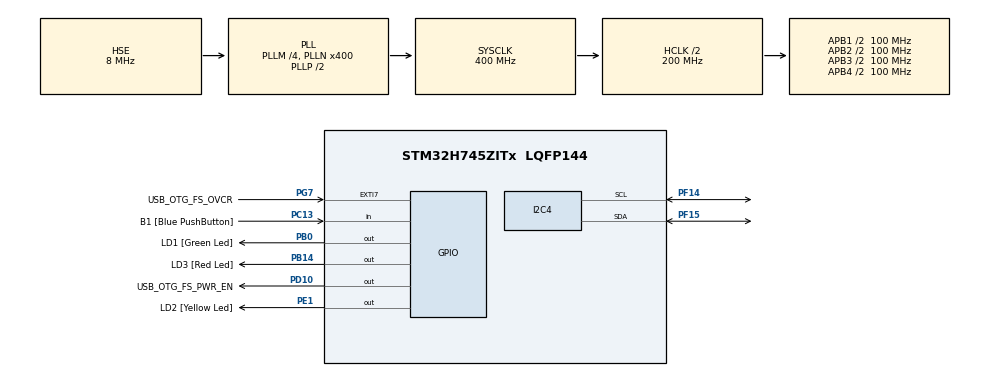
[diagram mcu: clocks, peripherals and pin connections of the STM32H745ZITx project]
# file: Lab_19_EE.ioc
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CortexM4.IPs=FATFS_M4\:I,FREERTOS_M4\:I,IWDG2\:I,RCC,WWDG2\:I,DMA,BDMA,MDMA,NVIC2\:I,USART3,ETH,DEBUG,PDM2PCM_M4\:I,PWR,RESMGR_UTILITY,SYS_M4\:I,USB_DEVICE_M4\:I,USB_HOST_M4\:I,CORTEX_M4\:I,GPIO,OPENAMP_M4\:I,VREFBUF
CortexM7.IPs=FATFS_M7\:I,FREERTOS_M7\:I,IWDG1\:I,RCC\:I,WWDG1\:I,DMA\:I,BDMA\:I,MDMA\:I,NVIC1\:I,SYS\:I,USART3\:I,USB_OTG_FS\:I,ETH\:I,CORTEX_M7\:I,DEBUG\:I,PDM2PCM_M7\:I,PWR\:I,RESMGR_UTILITY\:I,USB_DEVICE_M7\:I,USB_HOST_M7\:I,GPIO\:I,OPENAMP_M7\:I,VREFBUF\:I,I2C4\:I
CortexM7.Pins=PB0,PB14,PE1
I2C4.Timing=0x10C0ECFF
Mcu.Family=STM32H7
Mcu.Name=STM32H745ZITx
Mcu.Package=LQFP144
NVIC1.PriorityGroup=NVIC_PRIORITYGROUP_4
NVIC2.PriorityGroup=NVIC_PRIORITYGROUP_4
PA1.PinAttribute=CortexM7
PA1.Signal=ETH_REF_CLK
PA11.PinAttribute=CortexM7
PA11.Signal=USB_OTG_FS_DM
PA12.PinAttribute=CortexM7
PA12.Signal=USB_OTG_FS_DP
PA2.PinAttribute=CortexM7
PA2.Signal=ETH_MDIO
PA7.PinAttribute=CortexM7
PA7.Signal=ETH_CRS_DV
PA8.PinAttribute=CortexM7
PA8.Signal=USB_OTG_FS_SOF
PA9.PinAttribute=CortexM7
PA9.Signal=USB_OTG_FS_VBUS
PB0.GPIO_Label=LD1 [Green Led]
PB0.PinAttribute=CortexM7
PB0.Signal=GPIO_Output
PB13.PinAttribute=CortexM7
PB13.Signal=ETH_TXD1
PB14.GPIO_Label=LD3 [Red Led]
PB14.PinAttribute=CortexM7
PB14.Signal=GPIO_Output
PC1.PinAttribute=CortexM7
PC1.Signal=ETH_MDC
PC13.GPIO_Label=B1 [Blue PushButton]
PC13.PinAttribute=Free
PC13.Signal=GPIO_Input
PC14-OSC32_IN\ (OSC32_IN).PinAttribute=CortexM7
PC14-OSC32_IN\ (OSC32_IN).Signal=RCC_OSC32_IN
PC15-OSC32_OUT\ (OSC32_OUT).PinAttribute=CortexM7
PC15-OSC32_OUT\ (OSC32_OUT).Signal=RCC_OSC32_OUT
PC4.PinAttribute=CortexM7
PC4.Signal=ETH_RXD0
PC5.PinAttribute=CortexM7
PC5.Signal=ETH_RXD1
PD10.GPIO_Label=USB_OTG_FS_PWR_EN
PD10.PinAttribute=Free
PD10.Signal=GPIO_Output
PD8.GPIO_Label=STLINK_RX
PD8.PinAttribute=CortexM7
PD8.Signal=USART3_TX
PD9.GPIO_Label=STLINK_TX
PD9.PinAttribute=CortexM7
PD9.Signal=USART3_RX
PE1.GPIO_Label=LD2 [Yellow Led]
PE1.PinAttribute=CortexM7
PE1.Signal=GPIO_Output
PF14.Mode=I2C
PF14.PinAttribute=CortexM7
PF14.Signal=I2C4_SCL
PF15.Mode=I2C
PF15.PinAttribute=CortexM7
PF15.Signal=I2C4_SDA
PG11.PinAttribute=CortexM7
PG11.Signal=ETH_TX_EN
PG13.PinAttribute=CortexM7
PG13.Signal=ETH_TXD0
PG7.GPIO_Label=USB_OTG_FS_OVCR
PG7.PinAttribute=Free
PG7.Signal=GPXTI7
PH0-OSC_IN\ (PH0).Mode=HSE-External-Clock-Source
PH0-OSC_IN\ (PH0).PinAttribute=CortexM7
PH0-OSC_IN\ (PH0).Signal=RCC_OSC_IN
PH1-OSC_OUT\ (PH1).PinAttribute=CortexM7
PH1-OSC_OUT\ (PH1).Signal=RCC_OSC_OUT
ProjectManager.HeapSize=M4-0x200,M7-0x200
ProjectManager.StackSize=M4-0x400,M7-0x400
ProjectManager.TargetToolchain=STM32CubeIDE
RCC.ADCFreq_Value=16125000
RCC.APB1Freq_Value=100000000
RCC.APB2Freq_Value=100000000
RCC.APB3Freq_Value=100000000
RCC.APB4Freq_Value=100000000
RCC.CortexFreq_Value=400000000
RCC.D1PPRE=RCC_APB3_DIV2
RCC.D2PPRE1=RCC_APB1_DIV2
RCC.D2PPRE2=RCC_APB2_DIV2
RCC.D3PPRE=RCC_APB4_DIV2
RCC.DIVM1=4
RCC.DIVM3=22
RCC.DIVN1=400
RCC.DIVN3=169
RCC.DIVQ3=4
RCC.HCLKFreq_Value=200000000
RCC.HPRE=RCC_HCLK_DIV2
RCC.HSE_VALUE=8000000
RCC.PLL2FRACN=0
RCC.PLL3FRACN=0
RCC.PLLFRACN=0
RCC.PLLSourceVirtual=RCC_PLLSOURCE_HSE
RCC.SYSCLKFreq_VALUE=400000000
RCC.SYSCLKSource=RCC_SYSCLKSOURCE_PLLCLK
RCC.SupplySource=PWR_DIRECT_SMPS_SUPPLY
RCC.USBCLockSelection=RCC_USBCLKSOURCE_PLL3
RCC.USBFreq_Value=15363636.363636363
VP_SYS_M4_VS_Systick.Mode=SysTick
board=NUCLEO-H745ZI-Q

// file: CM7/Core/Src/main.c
/* USER CODE BEGIN Header */
/**
  ******************************************************************************
  * @file           : main.c
  * @brief          : Main program body
  ******************************************************************************
  * @attention
  *
  * Copyright (c) 2023 STMicroelectronics.
  * All rights reserved.
  *
  * This software is licensed under terms that can be found in the LICENSE file
  * in the root directory of this software component.
  * If no LICENSE file comes with this software, it is provided AS-IS.
  *
  ******************************************************************************
  */
/* USER CODE END Header */
#include "main.h"

/* USER CODE BEGIN PD */
#define EEPROM_ADDRESS   0xA0
#define EEPROM_PAGESIZE  64
#define EEPROM_SIZE      16384

#define ADDR_TO_WRITE    0
#define ADDR_TO_READ     ADDR_TO_WRITE

/* Maximum Timeout values for flags waiting loops. These timeouts are not based
   on accurate values, they just guarantee that the application will not remain
   stuck if the I2C communication is corrupted.
   You may modify these timeout values depending on CPU frequency and application
   conditions (interrupts routines ...). */
#define I2C_XFER_TIMEOUT_MAX    300
/* Maximum number of trials for HAL_I2C_IsDeviceReady() function */
#define I2C_EEPROM_MAX_TRIALS   300

#ifndef HSEM_ID_0
#define HSEM_ID_0 (0U) /* HW semaphore 0*/
#endif
/* USER CODE END PD */

/* USER CODE BEGIN PM */
/* Size of Transmission buffer */
#define TXBUFFERSIZE  1
/* Size of Reception buffer */
#define RXBUFFERSIZE  TXBUFFERSIZE

#define COUNTOF(__BUFFER__)   (sizeof(__BUFFER__) / sizeof(*(__BUFFER__)))
/* USER CODE END PM */

I2C_HandleTypeDef hi2c4;

/* USER CODE BEGIN PV */
/* Buffer used for transmission */
uint8_t aTxBuffer[] = {0};

/* Buffer used for reception */
uint8_t aRxBuffer[RXBUFFERSIZE];
/* USER CODE END PV */

void SystemClock_Config(void);
static void MX_GPIO_Init(void);
static void MX_I2C4_Init(void);
/* USER CODE BEGIN PFP */
//static uint16_t Buffercmp(uint8_t *pBuffer1, uint8_t *pBuffer2, uint16_t BufferLength);
/* USER CODE END PFP */

/* USER CODE BEGIN 0 */
typedef struct {
	uint8_t state;

	GPIO_TypeDef* ports[3];
	uint16_t pins[3];
} StateMachine;

StateMachine state_machine_init(uint8_t state) {
	StateMachine state_machine;
	state_machine.state = state;

	state_machine.ports[0] = LD1_GPIO_Port;
	state_machine.ports[1] = LD2_GPIO_Port;
	state_machine.ports[2] = LD3_GPIO_Port;

	state_machine.pins[0] = LD1_Pin;
	state_machine.pins[1] = LD2_Pin;
	state_machine.pins[2] = LD3_Pin;

	for (uint8_t state = 0; state < 3; state++) {
		HAL_GPIO_WritePin(state_machine.ports[state], state_machine.pins[state], GPIO_PIN_RESET);
	}

	HAL_GPIO_WritePin(state_machine.ports[state_machine.state], state_machine.pins[state_machine.state], GPIO_PIN_SET);

	return state_machine;
}

uint8_t shift(StateMachine* state_machine) {
	uint8_t curr_state = state_machine->state;
	HAL_GPIO_WritePin(state_machine->ports[curr_state], state_machine->pins[curr_state], GPIO_PIN_RESET);
	if (curr_state == 2) {
		state_machine->state = 0;
	}
	else {
		state_machine->state++;
	}
	curr_state = state_machine->state;
	HAL_GPIO_WritePin(state_machine->ports[curr_state], state_machine->pins[curr_state], GPIO_PIN_SET);
	return curr_state;
}

/* USER CODE END 0 */

int main(void)
{
/* USER CODE BEGIN Boot_Mode_Sequence_0 */
  int32_t timeout;
/* USER CODE END Boot_Mode_Sequence_0 */

/* USER CODE BEGIN Boot_Mode_Sequence_1 */
  /* Wait until CPU2 boots and enters in stop mode or timeout*/
  timeout = 0xFFFF;
  while((__HAL_RCC_GET_FLAG(RCC_FLAG_D2CKRDY) != RESET) && (timeout-- > 0));
  if ( timeout < 0 )
  {
  Error_Handler();
  }
/* USER CODE END Boot_Mode_Sequence_1 */
  /* MCU Configuration--------------------------------------------------------*/

  /* Reset of all peripherals, Initializes the Flash interface and the Systick. */
  HAL_Init();

  /* Configure the system clock */
  SystemClock_Config();
/* USER CODE BEGIN Boot_Mode_Sequence_2 */
/* When system initialization is finished, Cortex-M7 will release Cortex-M4 by means of
HSEM notification */
/*HW semaphore Clock enable*/
__HAL_RCC_HSEM_CLK_ENABLE();
/*Take HSEM */
HAL_HSEM_FastTake(HSEM_ID_0);
/*Release HSEM in order to notify the CPU2(CM4)*/
HAL_HSEM_Release(HSEM_ID_0,0);
/* wait until CPU2 wakes up from stop mode */
timeout = 0xFFFF;
while((__HAL_RCC_GET_FLAG(RCC_FLAG_D2CKRDY) == RESET) && (timeout-- > 0));
if ( timeout < 0 )
{
Error_Handler();
}
/* USER CODE END Boot_Mode_Sequence_2 */

  /* Initialize all configured peripherals */
  MX_GPIO_Init();
  MX_I2C4_Init();
  /* USER CODE BEGIN 2 */

  /* Write buffer to EEPROM */
//  if(HAL_I2C_Mem_Write(&hi2c4, (uint16_t)EEPROM_ADDRESS, ADDR_TO_WRITE, I2C_MEMADD_SIZE_16BIT,
//                       (uint8_t *)aTxBuffer, TXBUFFERSIZE, I2C_XFER_TIMEOUT_MAX)!= HAL_OK)
//  {
//    /* Writing process Error */
//    Error_Handler();
//  }

  /* Check if the EEPROM is ready for a new operation */
  while (HAL_I2C_IsDeviceReady(&hi2c4, EEPROM_ADDRESS, I2C_EEPROM_MAX_TRIALS, I2C_XFER_TIMEOUT_MAX) != HAL_OK);

  /* Read from EEPROM */
  if (HAL_I2C_Mem_Read(&hi2c4, (uint16_t)EEPROM_ADDRESS, ADDR_TO_READ, I2C_MEMADD_SIZE_16BIT,
                       (uint8_t *)aRxBuffer, RXBUFFERSIZE, I2C_XFER_TIMEOUT_MAX) != HAL_OK)
  {
    /* Reading process Error */
    Error_Handler();
  }

  uint8_t state = aRxBuffer[0];

//  /* Compare the sent and received buffers */
//  if (Buffercmp((uint8_t *)aTxBuffer, (uint8_t *)aRxBuffer, RXBUFFERSIZE))
//  {
//    /* Turn LED2 on */
//    HAL_GPIO_WritePin(LD2_GPIO_Port, LD2_Pin, GPIO_PIN_SET);
//
//    /* Processing Error */
//    Error_Handler();
//  }

  /* Success - Turn LED1 on */
//  HAL_GPIO_WritePin(LD1_GPIO_Port, LD1_Pin, GPIO_PIN_SET);

    __HAL_RCC_GPIOC_CLK_ENABLE();

    GPIO_InitTypeDef  gpio_init_structure_button;

    gpio_init_structure_button.Pin = GPIO_PIN_13;
    gpio_init_structure_button.Mode = GPIO_MODE_INPUT;
    gpio_init_structure_button.Pull = GPIO_PULLDOWN;
    gpio_init_structure_button.Speed = GPIO_SPEED_FREQ_HIGH;

    HAL_GPIO_Init(GPIOC, &gpio_init_structure_button);

    GPIO_PinState prev_state = GPIO_PIN_RESET; // Previous button state
    GPIO_PinState curr_state = GPIO_PIN_RESET; // Current button state

  StateMachine state_machine = state_machine_init(state);

//  HAL_Delay(1000);
//  shift(&state_machine);
//  HAL_Delay(1000);
//  shift(&state_machine);

  /* USER CODE END 2 */

  /* Infinite loop */
  while (1)
  {
	  curr_state = HAL_GPIO_ReadPin(GPIOC, GPIO_PIN_13);
	  if (curr_state == GPIO_PIN_SET && prev_state == GPIO_PIN_RESET) {
		  aTxBuffer[0] = shift(&state_machine);
		  if(HAL_I2C_Mem_Write(&hi2c4, (uint16_t)EEPROM_ADDRESS, ADDR_TO_WRITE, I2C_MEMADD_SIZE_16BIT,
		                         (uint8_t *)aTxBuffer, TXBUFFERSIZE, I2C_XFER_TIMEOUT_MAX)!= HAL_OK)
		    {
		      /* Writing process Error */
		      Error_Handler();
		    }
	  }
	  prev_state = curr_state;
  }
}

void SystemClock_Config(void)
{
  RCC_OscInitTypeDef RCC_OscInitStruct = {0};
  RCC_ClkInitTypeDef RCC_ClkInitStruct = {0};

  /** Supply configuration update enable
  */
  HAL_PWREx_ConfigSupply(PWR_DIRECT_SMPS_SUPPLY);

  /** Configure the main internal regulator output voltage
  */
  __HAL_PWR_VOLTAGESCALING_CONFIG(PWR_REGULATOR_VOLTAGE_SCALE1);

  while(!__HAL_PWR_GET_FLAG(PWR_FLAG_VOSRDY)) {}

  /** Initializes the RCC Oscillators according to the specified parameters
  * in the RCC_OscInitTypeDef structure.
  */
  RCC_OscInitStruct.OscillatorType = RCC_OSCILLATORTYPE_HSE;
  RCC_OscInitStruct.HSEState = RCC_HSE_BYPASS;
  RCC_OscInitStruct.PLL.PLLState = RCC_PLL_ON;
  RCC_OscInitStruct.PLL.PLLSource = RCC_PLLSOURCE_HSE;
  RCC_OscInitStruct.PLL.PLLM = 4;
  RCC_OscInitStruct.PLL.PLLN = 400;
  RCC_OscInitStruct.PLL.PLLP = 2;
  RCC_OscInitStruct.PLL.PLLQ = 2;
  RCC_OscInitStruct.PLL.PLLR = 2;
  RCC_OscInitStruct.PLL.PLLRGE = RCC_PLL1VCIRANGE_1;
  RCC_OscInitStruct.PLL.PLLVCOSEL = RCC_PLL1VCOWIDE;
  RCC_OscInitStruct.PLL.PLLFRACN = 0;
  if (HAL_RCC_OscConfig(&RCC_OscInitStruct) != HAL_OK)
  {
    Error_Handler();
  }

  /** Initializes the CPU, AHB and APB buses clocks
  */
  RCC_ClkInitStruct.ClockType = RCC_CLOCKTYPE_HCLK|RCC_CLOCKTYPE_SYSCLK
                              |RCC_CLOCKTYPE_PCLK1|RCC_CLOCKTYPE_PCLK2
                              |RCC_CLOCKTYPE_D3PCLK1|RCC_CLOCKTYPE_D1PCLK1;
  RCC_ClkInitStruct.SYSCLKSource = RCC_SYSCLKSOURCE_PLLCLK;
  RCC_ClkInitStruct.SYSCLKDivider = RCC_SYSCLK_DIV1;
  RCC_ClkInitStruct.AHBCLKDivider = RCC_HCLK_DIV2;
  RCC_ClkInitStruct.APB3CLKDivider = RCC_APB3_DIV2;
  RCC_ClkInitStruct.APB1CLKDivider = RCC_APB1_DIV2;
  RCC_ClkInitStruct.APB2CLKDivider = RCC_APB2_DIV2;
  RCC_ClkInitStruct.APB4CLKDivider = RCC_APB4_DIV2;

  if (HAL_RCC_ClockConfig(&RCC_ClkInitStruct, FLASH_LATENCY_2) != HAL_OK)
  {
    Error_Handler();
  }
}

static void MX_I2C4_Init(void)
{

  hi2c4.Instance = I2C4;
  hi2c4.Init.Timing = 0x10C0ECFF;
  hi2c4.Init.OwnAddress1 = 0;
  hi2c4.Init.AddressingMode = I2C_ADDRESSINGMODE_7BIT;
  hi2c4.Init.DualAddressMode = I2C_DUALADDRESS_DISABLE;
  hi2c4.Init.OwnAddress2 = 0;
  hi2c4.Init.OwnAddress2Masks = I2C_OA2_NOMASK;
  hi2c4.Init.GeneralCallMode = I2C_GENERALCALL_DISABLE;
  hi2c4.Init.NoStretchMode = I2C_NOSTRETCH_DISABLE;
  if (HAL_I2C_Init(&hi2c4) != HAL_OK)
  {
    Error_Handler();
  }

  /** Configure Analogue filter
  */
  if (HAL_I2CEx_ConfigAnalogFilter(&hi2c4, I2C_ANALOGFILTER_ENABLE) != HAL_OK)
  {
    Error_Handler();
  }

  /** Configure Digital filter
  */
  if (HAL_I2CEx_ConfigDigitalFilter(&hi2c4, 0) != HAL_OK)
  {
    Error_Handler();
  }

}

static void MX_GPIO_Init(void)
{
  GPIO_InitTypeDef GPIO_InitStruct = {0};

  /* GPIO Ports Clock Enable */
  __HAL_RCC_GPIOC_CLK_ENABLE();
  __HAL_RCC_GPIOH_CLK_ENABLE();
  __HAL_RCC_GPIOA_CLK_ENABLE();
  __HAL_RCC_GPIOB_CLK_ENABLE();
  __HAL_RCC_GPIOF_CLK_ENABLE();
  __HAL_RCC_GPIOD_CLK_ENABLE();
  __HAL_RCC_GPIOG_CLK_ENABLE();
  __HAL_RCC_GPIOE_CLK_ENABLE();

  /*Configure GPIO pin Output Level */
  HAL_GPIO_WritePin(GPIOB, LD1_Pin|LD3_Pin, GPIO_PIN_RESET);

  /*Configure GPIO pin Output Level */
  HAL_GPIO_WritePin(LD2_GPIO_Port, LD2_Pin, GPIO_PIN_RESET);

  /*Configure GPIO pins : PC1 PC4 PC5 */
  GPIO_InitStruct.Pin = GPIO_PIN_1|GPIO_PIN_4|GPIO_PIN_5;
  GPIO_InitStruct.Mode = GPIO_MODE_AF_PP;
  GPIO_InitStruct.Pull = GPIO_NOPULL;
  GPIO_InitStruct.Speed = GPIO_SPEED_FREQ_LOW;
  GPIO_InitStruct.Alternate = GPIO_AF11_ETH;
  HAL_GPIO_Init(GPIOC, &GPIO_InitStruct);

  /*Configure GPIO pins : PA1 PA2 PA7 */
  GPIO_InitStruct.Pin = GPIO_PIN_1|GPIO_PIN_2|GPIO_PIN_7;
  GPIO_InitStruct.Mode = GPIO_MODE_AF_PP;
  GPIO_InitStruct.Pull = GPIO_NOPULL;
  GPIO_InitStruct.Speed = GPIO_SPEED_FREQ_LOW;
  GPIO_InitStruct.Alternate = GPIO_AF11_ETH;
  HAL_GPIO_Init(GPIOA, &GPIO_InitStruct);

  /*Configure GPIO pins : LD1_Pin LD3_Pin */
  GPIO_InitStruct.Pin = LD1_Pin|LD3_Pin;
  GPIO_InitStruct.Mode = GPIO_MODE_OUTPUT_PP;
  GPIO_InitStruct.Pull = GPIO_NOPULL;
  GPIO_InitStruct.Speed = GPIO_SPEED_FREQ_LOW;
  HAL_GPIO_Init(GPIOB, &GPIO_InitStruct);

  /*Configure GPIO pin : PB13 */
  GPIO_InitStruct.Pin = GPIO_PIN_13;
  GPIO_InitStruct.Mode = GPIO_MODE_AF_PP;
  GPIO_InitStruct.Pull = GPIO_NOPULL;
  GPIO_InitStruct.Speed = GPIO_SPEED_FREQ_LOW;
  GPIO_InitStruct.Alternate = GPIO_AF11_ETH;
  HAL_GPIO_Init(GPIOB, &GPIO_InitStruct);

  /*Configure GPIO pins : PD8 PD9 */
  GPIO_InitStruct.Pin = GPIO_PIN_8|GPIO_PIN_9;
  GPIO_InitStruct.Mode = GPIO_MODE_AF_PP;
  GPIO_InitStruct.Pull = GPIO_NOPULL;
  GPIO_InitStruct.Speed = GPIO_SPEED_FREQ_LOW;
  GPIO_InitStruct.Alternate = GPIO_AF7_USART3;
  HAL_GPIO_Init(GPIOD, &GPIO_InitStruct);

  /*Configure GPIO pins : PA8 PA11 PA12 */
  GPIO_InitStruct.Pin = GPIO_PIN_8|GPIO_PIN_11|GPIO_PIN_12;
  GPIO_InitStruct.Mode = GPIO_MODE_AF_PP;
  GPIO_InitStruct.Pull = GPIO_NOPULL;
  GPIO_InitStruct.Speed = GPIO_SPEED_FREQ_LOW;
  GPIO_InitStruct.Alternate = GPIO_AF10_OTG1_FS;
  HAL_GPIO_Init(GPIOA, &GPIO_InitStruct);

  /*Configure GPIO pins : PG11 PG13 */
  GPIO_InitStruct.Pin = GPIO_PIN_11|GPIO_PIN_13;
  GPIO_InitStruct.Mode = GPIO_MODE_AF_PP;
  GPIO_InitStruct.Pull = GPIO_NOPULL;
  GPIO_InitStruct.Speed = GPIO_SPEED_FREQ_LOW;
  GPIO_InitStruct.Alternate = GPIO_AF11_ETH;
  HAL_GPIO_Init(GPIOG, &GPIO_InitStruct);

  /*Configure GPIO pin : LD2_Pin */
  GPIO_InitStruct.Pin = LD2_Pin;
  GPIO_InitStruct.Mode = GPIO_MODE_OUTPUT_PP;
  GPIO_InitStruct.Pull = GPIO_NOPULL;
  GPIO_InitStruct.Speed = GPIO_SPEED_FREQ_LOW;
  HAL_GPIO_Init(LD2_GPIO_Port, &GPIO_InitStruct);

}

/* USER CODE BEGIN 4 */
/**
  * @brief  Compares two buffers.
  * @param  pBuffer1, pBuffer2: buffers to be compared.
  * @param  BufferLength: buffer's length
  * @retval 0  : pBuffer1 identical to pBuffer2
  *         >0 : pBuffer1 differs from pBuffer2
  */
//static uint16_t Buffercmp(uint8_t *pBuffer1, uint8_t *pBuffer2, uint16_t BufferLength)
//{
//  while (BufferLength--)
//  {
//    if ((*pBuffer1) != *pBuffer2)
//    {
//      return BufferLength;
//    }
//    pBuffer1++;
//    pBuffer2++;
//  }
//
//  return 0;
//}
/* USER CODE END 4 */

void Error_Handler(void)
{
  /* USER CODE BEGIN Error_Handler_Debug */

  /* Turn LED3 on */
  HAL_GPIO_WritePin(LD3_GPIO_Port, LD3_Pin, GPIO_PIN_SET);

  /* User can add his own implementation to report the HAL error return state */
  __disable_irq();
  while (1)
  {
  }
  /* USER CODE END Error_Handler_Debug */
}
